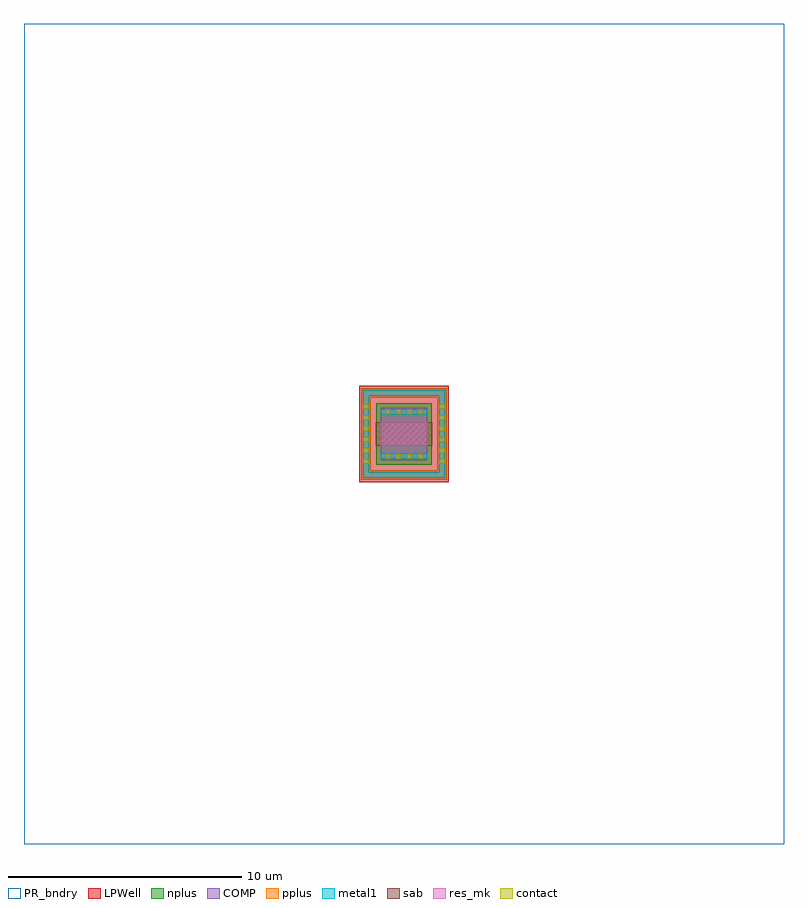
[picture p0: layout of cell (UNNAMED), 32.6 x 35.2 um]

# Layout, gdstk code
import gdstk
lib = gdstk.Library(unit=1e-6, precision=1e-09)
def R(c, l, rs):  # rectangles x0, y0, x1, y1
    for r in rs: c.add(gdstk.rectangle(r[:2], r[2:], *l))
def A(c, l, x, y, w, h, nx, ny, dx, dy):  # array of equal rectangles
    R(c, l, [(x+i*dx, y+j*dy, x+i*dx+w, y+j*dy+h) for i in range(nx) for j in range(ny)])
PR_bndry = (0, 0)
COMP = (22, 0)
pplus = (31, 0)
nplus = (32, 0)
contact = (33, 0)
metal1 = (34, 0)
sab = (49, 0)
res_mk = (110, 5)
LPWell = (204, 0)

c__unnamed_ = lib.new_cell('(UNNAMED)')
R(c__unnamed_, PR_bndry, [(-16.3,-17.6,16.3,17.6)])
R(c__unnamed_, COMP, [(-1.81,-1.94,1.81,-1.58), (-1.81,-1.58,-1.45,1.58), (1.45,-1.58,1.81,1.58), (-1,-1.13,1,1.13), (-1.81,1.58,1.81,1.94)])
R(c__unnamed_, pplus, [(-1.83,-1.96,1.83,-1.56), (-1.83,-1.56,-1.42,-1.455), (1.42,-1.56,1.83,-1.455), (-1.84,-1.455,-1.42,1.455), (1.42,-1.455,1.84,1.455), (-1.83,1.455,-1.42,1.56), (1.42,1.455,1.83,1.56), (-1.83,1.56,1.83,1.96)])
R(c__unnamed_, nplus, [(-1.18,-1.31,1.18,1.31), (-1.16,-1.29,1.16,1.29)])
A(c__unnamed_, contact, -1.74, -1.285, 0.22, 0.22, 1, 6, 0, 0.47)
A(c__unnamed_, contact, 1.52, -1.285, 0.22, 0.22, 1, 6, 0, 0.47)
A(c__unnamed_, contact, -0.815, -1.06, 0.22, 0.22, 4, 2, 0.47, 1.9)
R(c__unnamed_, metal1, [(-1.745,-1.875,1.745,-1.645), (-1.745,-1.645,-1.515,1.645), (1.515,-1.645,1.745,1.645), (-0.99,-1.065,0.99,-0.835), (-0.99,0.835,0.99,1.065), (-1.745,1.645,1.745,1.875)])
R(c__unnamed_, sab, [(-1.22,-0.5,1.22,0.5)])
R(c__unnamed_, res_mk, [(-1,-0.5,1,0.5)])
R(c__unnamed_, LPWell, [(-1.93,-2.06,1.93,2.06)])

lib.write_gds('_UNNAMED_.gds')
